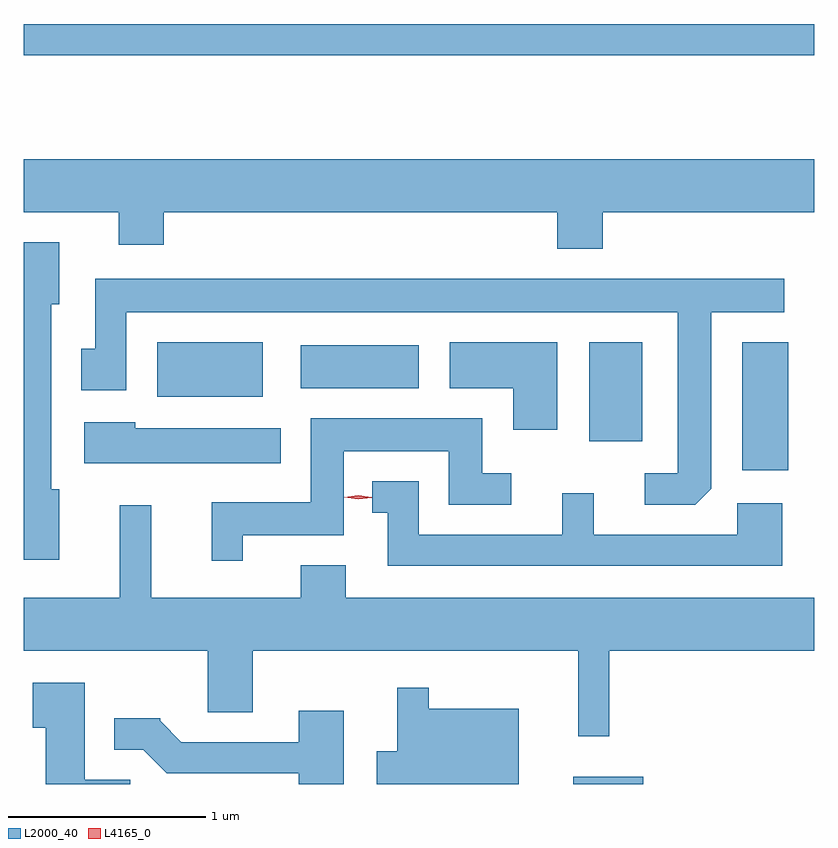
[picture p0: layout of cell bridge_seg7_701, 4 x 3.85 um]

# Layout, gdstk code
import gdstk
lib = gdstk.Library(unit=1e-6, precision=1e-09)
def R(c, l, rs):  # rectangles x0, y0, x1, y1
    for r in rs: c.add(gdstk.rectangle(r[:2], r[2:], *l))
def P(c, l, *ps):  # polygons
    for p in ps: c.add(gdstk.Polygon(p, *l))
L2000_40 = (2000, 40)
L4165_0 = (4165, 0)

bridge_seg7_701 = lib.new_cell('bridge_seg7_701')
R(bridge_seg7_701, L2000_40, [(539.271,1744.722,539.624,1744.759), (540.126,1746.311,540.359,1746.959), (539.351,1746.456,539.619,1746.959), (537.166,1746.681,537.699,1746.959), (537.891,1746.726,538.489,1746.944), (536.49,1748.411,540.49,1748.569)])
P(bridge_seg7_701, L2000_40, [(539.419,1747.616),(540.49,1747.616),(540.49,1747.884),(536.49,1747.884),(536.49,1747.616),(536.971,1747.616),(536.971,1747.451),(537.199,1747.451),(537.199,1747.616),(539.191,1747.616),(539.191,1747.431),(539.419,1747.431)],
  [(536.669,1746.214),(536.629,1746.214),(536.629,1747.151),(536.669,1747.151),(536.669,1747.464),(536.49,1747.464),(536.49,1745.856),(536.669,1745.856)],
  [(539.969,1746.217),(539.969,1747.111),(540.338,1747.111),(540.338,1747.279),(536.851,1747.279),(536.851,1746.924),(536.781,1746.924),(536.781,1746.716),(537.009,1746.716),(537.009,1747.111),(539.801,1747.111),(539.801,1746.294),(539.633,1746.294),(539.633,1746.136),(539.889,1746.136)],
  [(539.189,1746.959),(538.646,1746.959),(538.646,1746.726),(538.966,1746.726),(538.966,1746.516),(539.189,1746.516)],
  [(537.599,1745.981),(538.109,1745.981),(538.109,1746.406),(538.641,1746.406),(538.641,1746.136),(538.958,1746.136),(538.958,1746.294),(538.809,1746.294),(538.809,1746.574),(537.941,1746.574),(537.941,1746.149),(537.441,1746.149),(537.441,1745.853),(537.599,1745.853)],
  [(537.789,1746.524),(537.054,1746.524),(537.054,1746.554),(536.796,1746.554),(536.796,1746.346),(537.789,1746.346)],
  [(540.329,1746.144),(540.101,1746.144),(540.101,1745.984),(539.374,1745.984),(539.374,1746.193),(539.216,1746.193),(539.216,1745.984),(538.489,1745.984),(538.489,1746.254),(538.253,1746.254),(538.253,1746.096),(538.331,1746.096),(538.331,1745.826),(540.329,1745.826)],
  [(539.454,1745.396),(540.49,1745.396),(540.49,1745.664),(538.119,1745.664),(538.119,1745.829),(537.891,1745.829),(537.891,1745.664),(537.134,1745.664),(537.134,1746.133),(536.976,1746.133),(536.976,1745.664),(536.49,1745.664),(536.49,1745.396),(537.421,1745.396),(537.421,1745.086),(537.649,1745.086),(537.649,1745.396),(539.296,1745.396),(539.296,1744.963),(539.454,1744.963)],
  [(537.029,1744.744),(536.799,1744.744),(536.799,1745.234),(536.536,1745.234),(536.536,1745.006),(536.601,1745.006),(536.601,1744.722),(537.029,1744.722)],
  [(538.994,1745.104),(538.539,1745.104),(538.539,1745.208),(538.381,1745.208),(538.381,1744.889),(538.276,1744.889),(538.276,1744.722),(538.994,1744.722)],
  [(538.109,1745.094),(537.881,1745.094),(537.881,1744.934),(537.287,1744.934),(537.18,1745.041),(537.18,1745.054),(536.948,1745.054),(536.948,1744.896),(537.094,1744.896),(537.214,1744.776),(537.881,1744.776),(537.881,1744.722),(538.109,1744.722)])
P(bridge_seg7_701, L4165_0, [(538.182,1746.164),(538.112,1746.173),(538.112,1746.174),(538.112,1746.174),(538.182,1746.183),(538.251,1746.174),(538.251,1746.173),(538.251,1746.172)])

lib.write_gds('bridge_seg7_701.gds')
